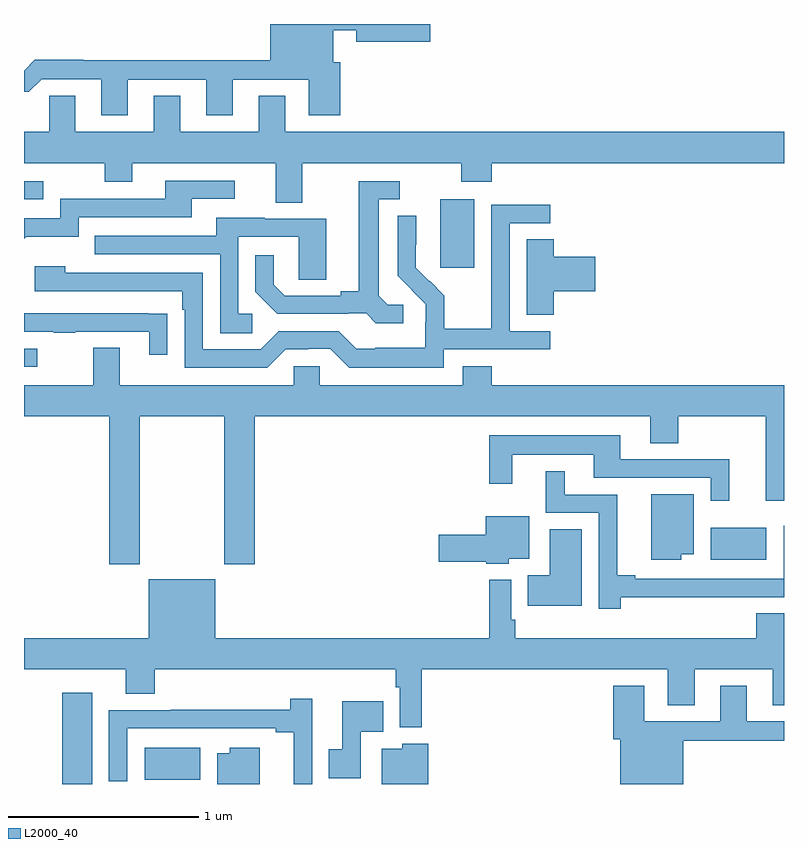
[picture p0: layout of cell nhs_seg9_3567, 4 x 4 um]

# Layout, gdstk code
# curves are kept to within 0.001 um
import gdstk
lib = gdstk.Library(unit=1e-6, precision=1e-09)
def R(c, l, rs):  # rectangles x0, y0, x1, y1
    for r in rs: c.add(gdstk.rectangle(r[:2], r[2:], *l))
def P(c, l, *ps):  # polygons
    for p in ps: c.add(gdstk.Polygon(p, *l))
L2000_40 = (2000, 40)

nhs_seg9_3567 = lib.new_cell('nhs_seg9_3567')
R(nhs_seg9_3567, L2000_40, [(315.2,1178.5,315.358,1178.98), (315.635,1178.522,315.928,1178.692), (318.614,1179.68,318.907,1179.85), (315,1180.695,315.07,1180.791), (317.192,1181.217,317.371,1181.578), (315,1181.577,315.1,1181.673)])
P(nhs_seg9_3567, L2000_40, [(315.547,1182.207),(315.959,1182.207),(315.959,1182.021),(316.099,1182.021),(316.099,1182.207),(316.499,1182.207),(316.499,1182.021),(316.664,1182.021),(316.664,1182.3),(316.627,1182.3),(316.627,1182.467),(316.748,1182.467),(316.748,1182.406),(317.137,1182.406),(317.137,1182.5),(316.295,1182.5),(316.295,1182.308),(315.311,1182.308),(315.311,1182.311),(315.056,1182.311),(315,1182.255),(315,1182.143),(315.026,1182.143),(315.093,1182.21),(315.407,1182.21),(315.407,1182.021),(315.547,1182.021)],
  [(316.465,1181.768),(317.302,1181.768),(317.302,1181.669),(317.462,1181.669),(317.462,1181.768),(319,1181.768),(319,1181.932),(316.375,1181.932),(316.375,1182.122),(316.235,1182.122),(316.235,1181.932),(315.823,1181.932),(315.823,1182.122),(315.683,1182.122),(315.683,1181.932),(315.271,1181.932),(315.271,1182.122),(315.132,1182.122),(315.132,1181.932),(315,1181.932),(315,1181.768),(315.424,1181.768),(315.424,1181.669),(315.571,1181.669),(315.571,1181.768),(316.325,1181.768),(316.325,1181.56),(316.465,1181.56)],
  [(315.011,1181.381),(315.288,1181.381),(315.288,1181.484),(315.883,1181.484),(315.883,1181.58),(316.108,1181.58),(316.108,1181.676),(315.743,1181.676),(315.743,1181.58),(315.192,1181.58),(315.192,1181.478),(315,1181.478),(315,1181.37)],
  [(316.996,1181.022),(316.914,1181.022),(316.867,1181.069),(316.867,1181.577),(316.978,1181.577),(316.978,1181.673),(316.763,1181.673),(316.763,1181.093),(316.667,1181.093),(316.667,1181.07),(316.372,1181.07),(316.315,1181.127),(316.315,1181.284),(316.218,1181.284),(316.218,1181.09),(316.334,1180.974),(316.706,1180.974),(316.706,1180.977),(316.8,1180.977),(316.852,1180.925),(316.996,1180.925)],
  [(317.208,1180.788),(317.77,1180.788),(317.77,1180.884),(317.556,1180.884),(317.556,1181.451),(317.77,1181.451),(317.77,1181.55),(317.46,1181.55),(317.46,1181.12),(317.458,1181.12),(317.458,1180.897),(317.213,1180.897),(317.213,1181.071),(317.136,1181.148),(317.133,1181.145),(317.063,1181.216),(317.064,1181.492),(316.968,1181.492),(316.968,1181.174),(317.114,1181.026),(317.114,1180.929),(317.112,1180.929),(317.112,1180.795),(316.849,1180.795),(316.849,1180.791),(316.749,1180.791),(316.656,1180.884),(316.341,1180.884),(316.245,1180.788),(315.942,1180.788),(315.942,1181.19),(315.218,1181.19),(315.218,1181.224),(315.057,1181.224),(315.057,1181.094),(315.833,1181.094),(315.833,1180.997),(315.846,1180.997),(315.846,1180.692),(316.281,1180.692),(316.377,1180.788),(316.496,1180.788),(316.496,1180.791),(316.611,1180.791),(316.711,1180.691),(317.208,1180.691)],
  [(316.201,1180.974),(316.128,1180.974),(316.128,1181.379),(316.446,1181.379),(316.446,1181.155),(316.591,1181.155),(316.591,1181.475),(316.267,1181.475),(316.267,1181.479),(316.013,1181.479),(316.013,1181.385),(315.373,1181.385),(315.373,1181.289),(316.032,1181.289),(316.032,1180.873),(316.201,1180.873)],
  [(317.789,1181.093),(318.007,1181.093),(318.007,1181.276),(317.789,1181.276),(317.789,1181.366),(317.645,1181.366),(317.645,1180.969),(317.789,1180.969)],
  [(315.755,1180.976),(315.653,1180.976),(315.653,1180.977),(315,1180.977),(315,1180.881),(315.157,1180.881),(315.157,1180.876),(315.269,1180.876),(315.269,1180.881),(315.659,1180.881),(315.659,1180.758),(315.755,1180.758)],
  [(315.609,1180.436),(316.054,1180.436),(316.054,1179.657),(316.214,1179.657),(316.214,1180.436),(318.296,1180.436),(318.296,1180.294),(318.444,1180.294),(318.444,1180.436),(318.905,1180.436),(318.905,1179.99),(319,1179.99),(319,1180.6),(317.462,1180.6),(317.462,1180.699),(317.309,1180.699),(317.309,1180.6),(316.557,1180.6),(316.557,1180.698),(316.419,1180.698),(316.419,1180.6),(315.505,1180.6),(315.505,1180.795),(315.365,1180.795),(315.365,1180.6),(315,1180.6),(315,1180.436),(315.449,1180.436),(315.449,1179.657),(315.609,1179.657)],
  [(318.713,1180.209),(318.139,1180.209),(318.139,1180.336),(317.448,1180.336),(317.448,1180.08),(317.569,1180.08),(317.569,1180.232),(317.999,1180.232),(317.999,1180.113),(318.615,1180.113),(318.615,1179.99),(318.713,1179.99)],
  [(318.14,1179.482),(318.77,1179.482),(318.77,1179.483),(319,1179.483),(319,1179.859),(318.999,1179.859),(318.999,1179.579),(318.217,1179.579),(318.217,1179.599),(318.122,1179.599),(318.122,1180.023),(317.845,1180.023),(317.845,1180.147),(317.747,1180.147),(317.747,1179.927),(318.024,1179.927),(318.024,1179.423),(318.14,1179.423)],
  [(318.46,1179.71),(318.526,1179.71),(318.526,1180.024),(318.302,1180.024),(318.302,1179.68),(318.46,1179.68)],
  [(317.55,1179.686),(317.659,1179.686),(317.659,1179.91),(317.429,1179.91),(317.429,1179.812),(317.184,1179.812),(317.184,1179.67),(317.433,1179.67),(317.433,1179.659),(317.55,1179.659)],
  [(317.935,1179.842),(317.768,1179.842),(317.768,1179.598),(317.65,1179.598),(317.65,1179.437),(317.935,1179.437)],
  [(317.093,1179.104),(318.389,1179.104),(318.389,1178.914),(318.529,1178.914),(318.529,1179.104),(318.941,1179.104),(318.941,1178.914),(319,1178.914),(319,1179.398),(318.854,1179.398),(318.854,1179.268),(317.585,1179.268),(317.585,1179.364),(317.565,1179.364),(317.565,1179.574),(317.449,1179.574),(317.449,1179.268),(316.006,1179.268),(316.006,1179.577),(315.656,1179.577),(315.656,1179.268),(315,1179.268),(315,1179.104),(315.536,1179.104),(315.536,1178.974),(315.689,1178.974),(315.689,1179.104),(316.957,1179.104),(316.957,1179.008),(316.977,1179.008),(316.977,1178.798),(317.093,1178.798)],
  [(318.469,1178.728),(319,1178.728),(319,1178.829),(318.805,1178.829),(318.805,1179.016),(318.665,1179.016),(318.665,1178.829),(318.265,1178.829),(318.265,1179.016),(318.101,1179.016),(318.101,1178.736),(318.137,1178.736),(318.137,1178.5),(318.469,1178.5)],
  [(316.518,1178.95),(316.402,1178.95),(316.402,1178.891),(315.772,1178.891),(315.772,1178.889),(315.447,1178.889),(315.447,1178.514),(315.543,1178.514),(315.543,1178.793),(316.325,1178.793),(316.325,1178.773),(316.421,1178.773),(316.421,1178.5),(316.518,1178.5)],
  [(316.773,1178.774),(316.892,1178.774),(316.892,1178.935),(316.676,1178.935),(316.676,1178.682),(316.603,1178.682),(316.603,1178.53),(316.773,1178.53)],
  [(317.128,1178.713),(316.992,1178.713),(316.992,1178.686),(316.883,1178.686),(316.883,1178.5),(317.128,1178.5)],
  [(316.24,1178.692),(316.082,1178.692),(316.082,1178.662),(316.016,1178.662),(316.016,1178.5),(316.24,1178.5)])

lib.write_gds('nhs_seg9_3567.gds')
